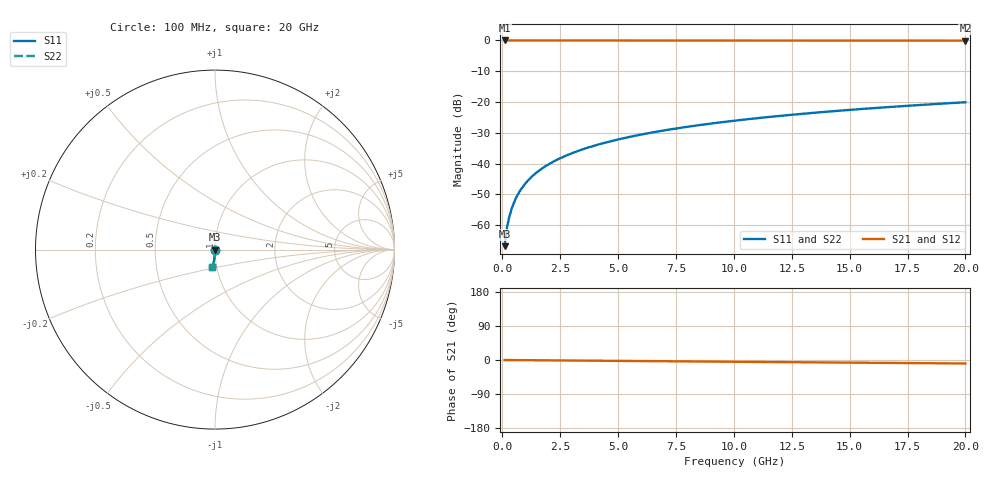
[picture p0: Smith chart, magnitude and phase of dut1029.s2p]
! Touchstone file exported from HFSS 2026.1.0
!  File:  C:/ffzhzh/LocalFiles/Ansys_Project_Files/temp_train_TSV_1029_1783189000_51560.aedt
!  Generated:  02:17:59 AM Jul  5, 2026
!  Design:  TSV
!  Project:  temp_train_TSV_1029_1783189000_51560
! Variables:
!  h_bsmrdl = 2um
!  h_ox = 20um
!  h_rdl = 5um
!  h_sub = 77.42um
!  h_tmrdl = 5um
!  h_tsv = 77.42um
!  h_via = 3um
!  l_bsmrdl = 300um
!  l_sub = 425.64um
!  l_tmrdl = 200um
!  m_sub = 200um
!  pitch = 31.18um
!  r_tsv = 12.82um
!  s_tmrdl = 10um
!  w_bsmrdl = 18um
!  w_sub = 500um
!  w_tmrdl = 12um
!  x_tsv_center1 = 206um
!  x_tsv_center2 = 524um
!  x_tsv_center3 = 736um
!  x_tsv_center4 = 1054um
!  x_tsv_center5 = 1266um
!  x_tsv_center6 = 1584um
# GHz S MA R 50.000000
! Terminal data exported
! Port[1] = TSV1_1_T1
! Port[2] = TSV1_1_T2
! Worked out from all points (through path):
!   200 points, 100 MHz to 20 GHz, reference 50 ohm
!   highest |S21| = 0.00 dB at 100 MHz (marker M1); lowest = -0.1 dB at 20 GHz (marker M2)
!   group delay of S21, straight-line fit = 1.28 ps
!   lowest |S11| = -66.9 dB at 100 MHz (marker M3), VSWR 1.00, Z = 50 - j0.0443 ohm
!   |S11| at or under -10 dB: start of sweep to end of sweep
!   |S22| runs from -66.9 to -20.1 dB; largest |S21 - S12| = 1.7e-14
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0.1  0.0004542 -77.2  0.9999 -0.0  0.9999 -0.0  0.0004542 -77.2
! Gamma 0 0 0 0
! Port Impedance 50 0 50 0
0.2  0.0008995 -82.4  0.9999 -0.1  0.9999 -0.1  0.0008995 -82.4
0.3  0.001357 -83.9  0.9999 -0.1  0.9999 -0.1  0.001357 -83.9
0.4  0.001826 -84.5  0.9998 -0.2  0.9998 -0.2  0.001826 -84.5
0.5  0.002304 -85.0  0.9998 -0.2  0.9998 -0.2  0.002304 -85.0
0.7  0.003277 -85.6  0.9997 -0.3  0.9997 -0.3  0.003277 -85.6
0.8  0.003769 -85.9  0.9997 -0.4  0.9997 -0.4  0.003769 -85.9
1  0.004758 -86.5  0.9997 -0.5  0.9997 -0.5  0.004758 -86.5
1.2  0.00575 -87.0  0.9996 -0.6  0.9996 -0.6  0.00575 -87.0
1.4  0.006741 -87.4  0.9996 -0.7  0.9996 -0.7  0.006741 -87.4
1.7  0.008228 -87.9  0.9995 -0.8  0.9995 -0.8  0.008228 -87.9
2  0.009715 -88.3  0.9995 -0.9  0.9995 -0.9  0.009715 -88.3
2.7  0.01318 -89.1  0.9994 -1.3  0.9994 -1.3  0.01318 -89.1
3.5  0.01715 -89.7  0.9993 -1.6  0.9993 -1.6  0.01715 -89.7
4.2  0.02063 -90.2  0.9992 -2.0  0.9992 -2.0  0.02063 -90.2
5  0.02461 -90.7  0.999 -2.3  0.999 -2.3  0.02461 -90.7
6.8  0.03358 -91.8  0.9986 -3.2  0.9986 -3.2  0.03358 -91.8
8.3  0.04107 -92.6  0.9983 -3.8  0.9983 -3.8  0.04107 -92.6
10.1  0.05004 -93.5  0.9978 -4.7  0.9978 -4.7  0.05004 -93.5
13.4  0.06647 -95.2  0.9966 -6.2  0.9966 -6.2  0.06647 -95.2
16.7  0.08283 -96.8  0.9953 -7.7  0.9953 -7.7  0.08283 -96.8
20  0.0991 -98.4  0.9936 -9.2  0.9936 -9.2  0.0991 -98.4
